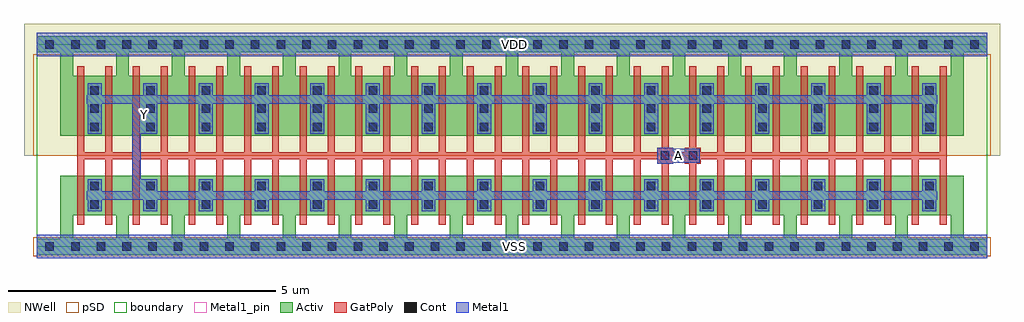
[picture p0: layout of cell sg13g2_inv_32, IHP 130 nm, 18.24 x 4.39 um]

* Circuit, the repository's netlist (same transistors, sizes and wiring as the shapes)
.SUBCKT sg13g2_inv_32 Y A VDD VSS
*.PININFO A:I Y:O VDD:B VSS:B
MN0 Y A VSS VSS sg13_lv_nmos w=23.68u l=130.00n ng=32
MP0 Y A VDD VDD sg13_lv_pmos w=35.84u l=130.00n ng=32
.ENDS

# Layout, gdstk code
import gdstk
lib = gdstk.Library(unit=1e-6, precision=1e-09)
def R(c, l, rs):  # rectangles x0, y0, x1, y1
    for r in rs: c.add(gdstk.rectangle(r[:2], r[2:], *l))
def A(c, l, x, y, w, h, nx, ny, dx, dy):  # array of equal rectangles
    R(c, l, [(x+i*dx, y+j*dy, x+i*dx+w, y+j*dy+h) for i in range(nx) for j in range(ny)])
def P(c, l, *ps):  # polygons
    for p in ps: c.add(gdstk.Polygon(p, *l))
Activ = (1, 0)
GatPoly = (5, 0)
Cont = (6, 0)
Metal1 = (8, 0)
Metal1_pin = (8, 2)
pSD = (14, 0)
NWell = (31, 0)
boundary = (189, 4)

sg13g2_inv_32 = lib.new_cell('sg13g2_inv_32')
P(sg13g2_inv_32, Activ, [(0.44,0.15),(0,0.15),(0,-0.15),(17.76,-0.15),(17.76,0.15),(0.44,0.15),(0.68,0.15),(0.68,0.59),(1.48,0.59),(1.48,0.15),(1.72,0.15),(1.72,0.59),(2.52,0.59),(2.52,0.15),(2.76,0.15),(2.76,0.59),(3.56,0.59),(3.56,0.15),(3.8,0.15),(3.8,0.59),(4.6,0.59),(4.6,0.15),(4.84,0.15),(4.84,0.59),(5.64,0.59),(5.64,0.15),(5.88,0.15),(5.88,0.59),(6.68,0.59),(6.68,0.15),(6.92,0.15),(6.92,0.59),(7.72,0.59),(7.72,0.15),(7.96,0.15),(7.96,0.59),(8.76,0.59),(8.76,0.15),(9,0.15),(9,0.59),(9.8,0.59),(9.8,0.15),(10.04,0.15),(10.04,0.59),(10.84,0.59),(10.84,0.15),(11.08,0.15),(11.08,0.59),(11.88,0.59),(11.88,0.15),(12.12,0.15),(12.12,0.59),(12.92,0.59),(12.92,0.15),(13.16,0.15),(13.16,0.59),(13.96,0.59),(13.96,0.15),(14.2,0.15),(14.2,0.59),(15,0.59),(15,0.15),(15.24,0.15),(15.24,0.59),(16.04,0.59),(16.04,0.15),(16.28,0.15),(16.28,0.59),(17.08,0.59),(17.08,0.15),(17.32,0.15),(17.32,0.59),(17.325,0.59),(17.325,1.33),(0.435,1.33),(0.435,0.59),(0.44,0.59)],
  [(0.44,3.19),(0.68,3.19),(0.68,3.63),(1.48,3.63),(1.48,3.19),(1.72,3.19),(1.72,3.63),(2.52,3.63),(2.52,3.19),(2.76,3.19),(2.76,3.63),(3.56,3.63),(3.56,3.19),(3.8,3.19),(3.8,3.63),(4.6,3.63),(4.6,3.19),(4.84,3.19),(4.84,3.63),(5.64,3.63),(5.64,3.19),(5.88,3.19),(5.88,3.63),(6.68,3.63),(6.68,3.19),(6.92,3.19),(6.92,3.63),(7.72,3.63),(7.72,3.19),(7.96,3.19),(7.96,3.63),(8.76,3.63),(8.76,3.19),(9,3.19),(9,3.63),(9.8,3.63),(9.8,3.19),(10.04,3.19),(10.04,3.63),(10.84,3.63),(10.84,3.19),(11.08,3.19),(11.08,3.63),(11.88,3.63),(11.88,3.19),(12.12,3.19),(12.12,3.63),(12.92,3.63),(12.92,3.19),(13.16,3.19),(13.16,3.63),(13.96,3.63),(13.96,3.19),(14.2,3.19),(14.2,3.63),(15,3.63),(15,3.19),(15.24,3.19),(15.24,3.63),(16.04,3.63),(16.04,3.19),(16.28,3.19),(16.28,3.63),(17.08,3.63),(17.08,3.19),(17.32,3.19),(17.32,3.63),(17.76,3.63),(17.76,3.93),(0,3.93),(0,3.63),(0.44,3.63),(0.44,3.19),(0.435,3.19),(0.435,2.07),(17.325,2.07),(17.325,3.19)])
P(sg13g2_inv_32, GatPoly, [(0.755,0.41),(0.885,0.41),(0.885,1.635),(1.275,1.635),(1.275,0.41),(1.405,0.41),(1.405,1.635),(1.795,1.635),(1.795,0.41),(1.925,0.41),(1.925,1.635),(2.315,1.635),(2.315,0.41),(2.445,0.41),(2.445,1.635),(2.835,1.635),(2.835,0.41),(2.965,0.41),(2.965,1.635),(3.355,1.635),(3.355,0.41),(3.485,0.41),(3.485,1.635),(3.875,1.635),(3.875,0.41),(4.005,0.41),(4.005,1.635),(4.395,1.635),(4.395,0.41),(4.525,0.41),(4.525,1.635),(4.915,1.635),(4.915,0.41),(5.045,0.41),(5.045,1.635),(5.435,1.635),(5.435,0.41),(5.565,0.41),(5.565,1.635),(5.955,1.635),(5.955,0.41),(6.085,0.41),(6.085,1.635),(6.475,1.635),(6.475,0.41),(6.605,0.41),(6.605,1.635),(6.995,1.635),(6.995,0.41),(7.125,0.41),(7.125,1.635),(7.515,1.635),(7.515,0.41),(7.645,0.41),(7.645,1.635),(8.035,1.635),(8.035,0.41),(8.165,0.41),(8.165,1.635),(8.555,1.635),(8.555,0.41),(8.685,0.41),(8.685,1.635),(9.075,1.635),(9.075,0.41),(9.205,0.41),(9.205,1.635),(9.595,1.635),(9.595,0.41),(9.725,0.41),(9.725,1.635),(10.115,1.635),(10.115,0.41),(10.245,0.41),(10.245,1.635),(10.635,1.635),(10.635,0.41),(10.765,0.41),(10.765,1.635),(11.155,1.635),(11.155,0.41),(11.285,0.41),(11.285,1.635),(11.59,1.635),(11.59,1.55),(11.675,1.55),(11.675,0.41),(11.805,0.41),(11.805,1.55),(11.89,1.55),(11.89,1.635),(12.11,1.635),(12.11,1.55),(12.195,1.55),(12.195,0.41),(12.325,0.41),(12.325,1.55),(12.41,1.55),(12.41,1.635),(12.715,1.635),(12.715,0.41),(12.845,0.41),(12.845,1.635),(13.235,1.635),(13.235,0.41),(13.365,0.41),(13.365,1.635),(13.755,1.635),(13.755,0.41),(13.885,0.41),(13.885,1.635),(14.275,1.635),(14.275,0.41),(14.405,0.41),(14.405,1.635),(14.795,1.635),(14.795,0.41),(14.925,0.41),(14.925,1.635),(15.315,1.635),(15.315,0.41),(15.445,0.41),(15.445,1.635),(15.835,1.635),(15.835,0.41),(15.965,0.41),(15.965,1.635),(16.355,1.635),(16.355,0.41),(16.485,0.41),(16.485,1.635),(16.875,1.635),(16.875,0.41),(17.005,0.41),(17.005,3.37),(16.875,3.37),(16.875,1.765),(16.485,1.765),(16.485,3.37),(16.355,3.37),(16.355,1.765),(15.965,1.765),(15.965,3.37),(15.835,3.37),(15.835,1.765),(15.445,1.765),(15.445,3.37),(15.315,3.37),(15.315,1.765),(14.925,1.765),(14.925,3.37),(14.795,3.37),(14.795,1.765),(14.405,1.765),(14.405,3.37),(14.275,3.37),(14.275,1.765),(13.885,1.765),(13.885,3.37),(13.755,3.37),(13.755,1.765),(13.365,1.765),(13.365,3.37),(13.235,3.37),(13.235,1.765),(12.845,1.765),(12.845,3.37),(12.715,3.37),(12.715,1.765),(12.41,1.765),(12.41,1.85),(12.325,1.85),(12.325,3.37),(12.195,3.37),(12.195,1.85),(12.11,1.85),(12.11,1.765),(11.89,1.765),(11.89,1.85),(11.805,1.85),(11.805,3.37),(11.675,3.37),(11.675,1.85),(11.59,1.85),(11.59,1.765),(11.285,1.765),(11.285,3.37),(11.155,3.37),(11.155,1.765),(10.765,1.765),(10.765,3.37),(10.635,3.37),(10.635,1.765),(10.245,1.765),(10.245,3.37),(10.115,3.37),(10.115,1.765),(9.725,1.765),(9.725,3.37),(9.595,3.37),(9.595,1.765),(9.205,1.765),(9.205,3.37),(9.075,3.37),(9.075,1.765),(8.685,1.765),(8.685,3.37),(8.555,3.37),(8.555,1.765),(8.165,1.765),(8.165,3.37),(8.035,3.37),(8.035,1.765),(7.645,1.765),(7.645,3.37),(7.515,3.37),(7.515,1.765),(7.125,1.765),(7.125,3.37),(6.995,3.37),(6.995,1.765),(6.605,1.765),(6.605,3.37),(6.475,3.37),(6.475,1.765),(6.085,1.765),(6.085,3.37),(5.955,3.37),(5.955,1.765),(5.565,1.765),(5.565,3.37),(5.435,3.37),(5.435,1.765),(5.045,1.765),(5.045,3.37),(4.915,3.37),(4.915,1.765),(4.525,1.765),(4.525,3.37),(4.395,3.37),(4.395,1.765),(4.005,1.765),(4.005,3.37),(3.875,3.37),(3.875,1.765),(3.485,1.765),(3.485,3.37),(3.355,3.37),(3.355,1.765),(2.965,1.765),(2.965,3.37),(2.835,3.37),(2.835,1.765),(2.445,1.765),(2.445,3.37),(2.315,3.37),(2.315,1.765),(1.925,1.765),(1.925,3.37),(1.795,3.37),(1.795,1.765),(1.405,1.765),(1.405,3.37),(1.275,3.37),(1.275,1.765),(0.885,1.765),(0.885,3.37),(0.755,3.37)])
A(sg13g2_inv_32, Cont, 0.16, -0.08, 0.16, 0.16, 37, 2, 0.48, 3.78)
A(sg13g2_inv_32, Cont, 1, 0.71, 0.16, 0.16, 16, 2, 1.04, 0.34)
A(sg13g2_inv_32, Cont, 1, 2.16, 0.16, 0.16, 16, 3, 1.04, 0.34)
R(sg13g2_inv_32, Cont, [(11.66,1.62,11.82,1.78), (12.18,1.62,12.34,1.78)])
R(sg13g2_inv_32, Metal1, [(0,-0.22,17.76,0.22), (0,3.56,17.76,4)])
P(sg13g2_inv_32, Metal1, [(0.935,0.88),(0.95,0.88),(0.95,0.66),(1.21,0.66),(1.21,0.88),(1.99,0.88),(1.99,0.66),(2.25,0.66),(2.25,0.88),(3.03,0.88),(3.03,0.66),(3.29,0.66),(3.29,0.88),(4.07,0.88),(4.07,0.66),(4.33,0.66),(4.33,0.88),(5.11,0.88),(5.11,0.66),(5.37,0.66),(5.37,0.88),(6.15,0.88),(6.15,0.66),(6.41,0.66),(6.41,0.88),(7.19,0.88),(7.19,0.66),(7.45,0.66),(7.45,0.88),(8.23,0.88),(8.23,0.66),(8.49,0.66),(8.49,0.88),(9.27,0.88),(9.27,0.66),(9.53,0.66),(9.53,0.88),(10.31,0.88),(10.31,0.66),(10.57,0.66),(10.57,0.88),(11.35,0.88),(11.35,0.66),(11.61,0.66),(11.61,0.88),(12.39,0.88),(12.39,0.66),(12.65,0.66),(12.65,0.88),(13.43,0.88),(13.43,0.66),(13.69,0.66),(13.69,0.88),(14.47,0.88),(14.47,0.66),(14.73,0.66),(14.73,0.88),(15.51,0.88),(15.51,0.66),(15.77,0.66),(15.77,0.88),(16.55,0.88),(16.55,0.66),(16.81,0.66),(16.81,0.88),(16.825,0.88),(16.825,1.04),(16.81,1.04),(16.81,1.26),(16.55,1.26),(16.55,1.04),(15.77,1.04),(15.77,1.26),(15.51,1.26),(15.51,1.04),(14.73,1.04),(14.73,1.26),(14.47,1.26),(14.47,1.04),(13.69,1.04),(13.69,1.26),(13.43,1.26),(13.43,1.04),(12.65,1.04),(12.65,1.26),(12.39,1.26),(12.39,1.04),(11.61,1.04),(11.61,1.26),(11.35,1.26),(11.35,1.04),(10.57,1.04),(10.57,1.26),(10.31,1.26),(10.31,1.04),(9.53,1.04),(9.53,1.26),(9.27,1.26),(9.27,1.04),(8.49,1.04),(8.49,1.26),(8.23,1.26),(8.23,1.04),(7.45,1.04),(7.45,1.26),(7.19,1.26),(7.19,1.04),(6.41,1.04),(6.41,1.26),(6.15,1.26),(6.15,1.04),(5.37,1.04),(5.37,1.26),(5.11,1.26),(5.11,1.04),(4.33,1.04),(4.33,1.26),(4.07,1.26),(4.07,1.04),(3.29,1.04),(3.29,1.26),(3.03,1.26),(3.03,1.04),(2.25,1.04),(2.25,1.26),(1.94,1.26),(1.94,2.11),(2.25,2.11),(2.25,2.67),(3.03,2.67),(3.03,2.11),(3.29,2.11),(3.29,2.67),(4.07,2.67),(4.07,2.11),(4.33,2.11),(4.33,2.67),(5.11,2.67),(5.11,2.11),(5.37,2.11),(5.37,2.67),(6.15,2.67),(6.15,2.11),(6.41,2.11),(6.41,2.67),(7.19,2.67),(7.19,2.11),(7.45,2.11),(7.45,2.67),(8.23,2.67),(8.23,2.11),(8.49,2.11),(8.49,2.67),(9.27,2.67),(9.27,2.11),(9.53,2.11),(9.53,2.67),(10.31,2.67),(10.31,2.11),(10.57,2.11),(10.57,2.67),(11.35,2.67),(11.35,2.11),(11.61,2.11),(11.61,2.67),(12.39,2.67),(12.39,2.11),(12.65,2.11),(12.65,2.67),(13.43,2.67),(13.43,2.11),(13.69,2.11),(13.69,2.67),(14.47,2.67),(14.47,2.11),(14.73,2.11),(14.73,2.67),(15.51,2.67),(15.51,2.11),(15.77,2.11),(15.77,2.67),(16.55,2.67),(16.55,2.11),(16.81,2.11),(16.81,2.67),(16.825,2.67),(16.825,2.83),(16.81,2.83),(16.81,3.05),(16.55,3.05),(16.55,2.83),(15.77,2.83),(15.77,3.05),(15.51,3.05),(15.51,2.83),(14.73,2.83),(14.73,3.05),(14.47,3.05),(14.47,2.83),(13.69,2.83),(13.69,3.05),(13.43,3.05),(13.43,2.83),(12.65,2.83),(12.65,3.05),(12.39,3.05),(12.39,2.83),(11.61,2.83),(11.61,3.05),(11.35,3.05),(11.35,2.83),(10.57,2.83),(10.57,3.05),(10.31,3.05),(10.31,2.83),(9.53,2.83),(9.53,3.05),(9.27,3.05),(9.27,2.83),(8.49,2.83),(8.49,3.05),(8.23,3.05),(8.23,2.83),(7.45,2.83),(7.45,3.05),(7.19,3.05),(7.19,2.83),(6.41,2.83),(6.41,3.05),(6.15,3.05),(6.15,2.83),(5.37,2.83),(5.37,3.05),(5.11,3.05),(5.11,2.83),(4.33,2.83),(4.33,3.05),(4.07,3.05),(4.07,2.83),(3.29,2.83),(3.29,3.05),(3.03,3.05),(3.03,2.83),(2.25,2.83),(2.25,3.05),(1.99,3.05),(1.99,2.83),(1.21,2.83),(1.21,3.05),(0.95,3.05),(0.95,2.83),(0.935,2.83),(0.935,2.67),(0.95,2.67),(0.95,2.11),(1.21,2.11),(1.21,2.67),(1.78,2.67),(1.78,1.04),(1.21,1.04),(1.21,1.26),(0.95,1.26),(0.95,1.04),(0.935,1.04)],
  [(11.59,1.55),(11.89,1.55),(11.89,1.57),(12.39,1.57),(12.39,1.83),(11.89,1.83),(11.89,1.85),(11.59,1.85)])
R(sg13g2_inv_32, Metal1_pin, [(0,-0.22,17.76,0.22), (11.59,1.57,12.39,1.83), (1.78,2.11,2.25,2.83), (0,3.56,17.76,4)])
R(sg13g2_inv_32, pSD, [(-0.07,-0.18,17.83,0.18), (-0.07,1.7,17.83,3.6)])
R(sg13g2_inv_32, NWell, [(-0.24,1.7,18,4.17)])
R(sg13g2_inv_32, boundary, [(0,0,17.76,3.78)])
sg13g2_inv_32.add(gdstk.Label('A', (11.99,1.7), layer=8, texttype=25))
sg13g2_inv_32.add(gdstk.Label('Y', (2.015,2.47), layer=8, texttype=25))
sg13g2_inv_32.add(gdstk.Label('VSS', (8.92,0), layer=8, texttype=25))
sg13g2_inv_32.add(gdstk.Label('VDD', (8.92,3.78), layer=8, texttype=25))

lib.write_gds('sg13g2_inv_32.gds')
